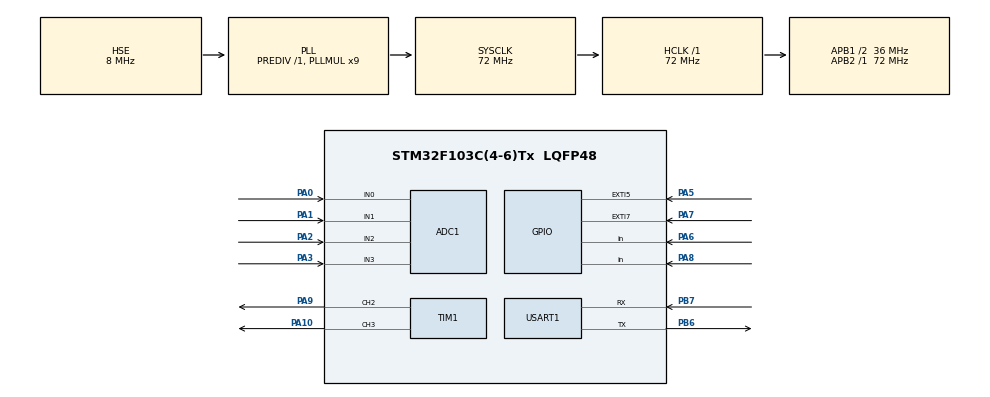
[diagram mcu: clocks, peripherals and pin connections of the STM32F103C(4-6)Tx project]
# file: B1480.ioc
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ADC1.Channel-0\#ChannelRegularConversion=ADC_CHANNEL_0
ADC1.NbrOfConversionFlag=1
ADC1.Rank-0\#ChannelRegularConversion=1
ADC1.SamplingTime-0\#ChannelRegularConversion=ADC_SAMPLETIME_1CYCLE_5
ADC1.master=1
Mcu.Family=STM32F1
Mcu.Name=STM32F103C(4-6)Tx
Mcu.Package=LQFP48
NVIC.EXTI9_5_IRQn=true\:0\:0\:false\:false\:true\:true\:true\:true
NVIC.PriorityGroup=NVIC_PRIORITYGROUP_4
PA0-WKUP.Signal=ADCx_IN0
PA1.Signal=ADCx_IN1
PA10.Signal=S_TIM1_CH3
PA13.Mode=Serial_Wire
PA13.Signal=SYS_JTMS-SWDIO
PA14.Mode=Serial_Wire
PA14.Signal=SYS_JTCK-SWCLK
PA2.Signal=ADCx_IN2
PA3.Signal=ADCx_IN3
PA5.GPIO_ModeDefaultEXTI=GPIO_MODE_IT_RISING
PA5.GPIO_PuPd=GPIO_PULLDOWN
PA5.Signal=GPXTI5
PA6.Signal=GPIO_Input
PA7.GPIO_ModeDefaultEXTI=GPIO_MODE_IT_RISING
PA7.GPIO_PuPd=GPIO_PULLDOWN
PA7.Signal=GPXTI7
PA8.Signal=GPIO_Input
PA9.Signal=S_TIM1_CH2
PB6.Mode=Asynchronous
PB6.Signal=USART1_TX
PB7.Mode=Asynchronous
PB7.Signal=USART1_RX
PD0-OSC_IN.Mode=HSE-External-Oscillator
PD0-OSC_IN.Signal=RCC_OSC_IN
PD1-OSC_OUT.Mode=HSE-External-Oscillator
PD1-OSC_OUT.Signal=RCC_OSC_OUT
ProjectManager.HeapSize=0x200
ProjectManager.StackSize=0x400
ProjectManager.TargetToolchain=STM32CubeIDE
RCC.ADCPresc=RCC_ADCPCLK2_DIV6
RCC.AHBFreq_Value=72000000
RCC.APB1CLKDivider=RCC_HCLK_DIV2
RCC.APB1Freq_Value=36000000
RCC.APB1TimFreq_Value=72000000
RCC.APB2Freq_Value=72000000
RCC.APB2TimFreq_Value=72000000
RCC.HCLKFreq_Value=72000000
RCC.PLLMUL=RCC_PLL_MUL9
RCC.PLLSourceVirtual=RCC_PLLSOURCE_HSE
RCC.SYSCLKFreq_VALUE=72000000
RCC.SYSCLKSource=RCC_SYSCLKSOURCE_PLLCLK
RCC.USBFreq_Value=72000000
SH.ADCx_IN0.0=ADC1_IN0,IN0
SH.ADCx_IN1.0=ADC1_IN1,IN1
SH.ADCx_IN2.0=ADC1_IN2,IN2
SH.ADCx_IN3.0=ADC1_IN3,IN3
SH.S_TIM1_CH2.0=TIM1_CH2,PWM Generation2 CH2
SH.S_TIM1_CH3.0=TIM1_CH3,PWM Generation3 CH3
TIM1.AutoReloadPreload=TIM_AUTORELOAD_PRELOAD_ENABLE
TIM1.Channel-PWM\ Generation2\ CH2=TIM_CHANNEL_2
TIM1.Channel-PWM\ Generation3\ CH3=TIM_CHANNEL_3
TIM1.OCMode_PWM-PWM\ Generation2\ CH2=TIM_OCMODE_PWM2
TIM1.OCMode_PWM-PWM\ Generation3\ CH3=TIM_OCMODE_PWM2
USART1.VirtualMode=VM_ASYNC
VP_TIM1_VS_ClockSourceINT.Mode=Internal
board=custom

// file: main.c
/* USER CODE BEGIN Header */
/**
 ******************************************************************************
 * @file           : main.c
 * @brief          : Main program body
 ******************************************************************************
 * @attention
 *
 * Copyright (c) 2024 STMicroelectronics.
 * All rights reserved.
 *
 * This software is licensed under terms that can be found in the LICENSE file
 * in the root directory of this software component.
 * If no LICENSE file comes with this software, it is provided AS-IS.
 *
 ******************************************************************************
 */
/* USER CODE END Header */
#include "main.h"

/* USER CODE BEGIN PD */
char msg[100];
int Pulses_Count_1;
int Pulses_Count_2;

PID_VARS_INIT(M1_PID);
PID_VARS_INIT(M2_PID);

uint64_t prev_1;
uint64_t prev_2;

/* USER CODE END PD */

/* USER CODE BEGIN PM */

#define Encoder_1_C1 GPIOA,GPIO_PIN_5
#define Encoder_1_C2 GPIOA,GPIO_PIN_6

#define Encoder_2_C1 GPIOA,GPIO_PIN_7
#define Encoder_2_C2 GPIOA,GPIO_PIN_8

#define PPR 360.0
#define MAX_DUTY 10000
/* USER CODE END PM */

ADC_HandleTypeDef hadc1;

TIM_HandleTypeDef htim1;

UART_HandleTypeDef huart1;

/* USER CODE BEGIN PV */
double Read_Speed_Setpoint(void)
{
	ADC_ChannelConfTypeDef sConfig = {0};
	sConfig.Channel = ADC_CHANNEL_0;
	sConfig.Rank = ADC_REGULAR_RANK_1;
	sConfig.SamplingTime = ADC_SAMPLETIME_1CYCLE_5;
	if (HAL_ADC_ConfigChannel(&hadc1, &sConfig) != HAL_OK)
	{
		Error_Handler();
	}
	HAL_ADC_Start(&hadc1);
	HAL_ADC_PollForConversion(&hadc1,HAL_MAX_DELAY);
	return HAL_ADC_GetValue(&hadc1);

}
double Read_Swing_Setpoint(void)
{
	ADC_ChannelConfTypeDef sConfig = {0};
	sConfig.Channel = ADC_CHANNEL_1;
	sConfig.Rank = ADC_REGULAR_RANK_1;
	sConfig.SamplingTime = ADC_SAMPLETIME_1CYCLE_5;
	if (HAL_ADC_ConfigChannel(&hadc1, &sConfig) != HAL_OK)
	{
		Error_Handler();
	}
	HAL_ADC_Start(&hadc1);
	HAL_ADC_PollForConversion(&hadc1,HAL_MAX_DELAY);

//	sprintf(msg,"Debug2  %d\r\n",HAL_ADC_GetValue(&hadc1));
//	HAL_UART_Transmit(&huart1,(uint8_t*)msg,strlen(msg),HAL_MAX_DELAY);

	return HAL_ADC_GetValue(&hadc1);
}
double Read_Current_L1(void)
{
	ADC_ChannelConfTypeDef sConfig = {0};
	sConfig.Channel = ADC_CHANNEL_2;
	sConfig.Rank = ADC_REGULAR_RANK_1;
	sConfig.SamplingTime = ADC_SAMPLETIME_1CYCLE_5;
	if (HAL_ADC_ConfigChannel(&hadc1, &sConfig) != HAL_OK)
	{
		Error_Handler();
	}
	HAL_ADC_Start(&hadc1);
	HAL_ADC_PollForConversion(&hadc1,HAL_MAX_DELAY);
	return HAL_ADC_GetValue(&hadc1);
}
double Read_Current_L2(void)
{
	ADC_ChannelConfTypeDef sConfig = {0};
	sConfig.Channel = ADC_CHANNEL_3;
	sConfig.Rank = ADC_REGULAR_RANK_1;
	sConfig.SamplingTime = ADC_SAMPLETIME_1CYCLE_5;
	if (HAL_ADC_ConfigChannel(&hadc1, &sConfig) != HAL_OK)
	{
		Error_Handler();
	}
	HAL_ADC_Start(&hadc1);
	HAL_ADC_PollForConversion(&hadc1,HAL_MAX_DELAY);
	return HAL_ADC_GetValue(&hadc1);
}

void HAL_GPIO_EXTI_Callback(uint16_t GPIO_Pin)
{
	if(GPIO_Pin == GPIO_PIN_5)
	{
		if( ( HAL_GPIO_ReadPin(Encoder_1_C1) && !HAL_GPIO_ReadPin(Encoder_1_C2) ) )
		{
			Pulses_Count_1++;
		}
		else if( ( !HAL_GPIO_ReadPin(Encoder_1_C1) && HAL_GPIO_ReadPin(Encoder_1_C2) ) )
		{
			Pulses_Count_1--;
		}

	}
	else if(GPIO_Pin == GPIO_PIN_7)
	{
		if( ( HAL_GPIO_ReadPin(Encoder_2_C1) && !HAL_GPIO_ReadPin(Encoder_2_C2) ) )
		{
			Pulses_Count_2++;
		}
		else if( ( !HAL_GPIO_ReadPin(Encoder_2_C1) && HAL_GPIO_ReadPin(Encoder_2_C2) ) )
		{
			Pulses_Count_2--;
		}
	}
}

double M1_Calc_Speed(void)
{
	double dt = (HAL_GetTick() - prev_1);
	prev_1 = HAL_GetTick();
	double speed = ( (Pulses_Count_1/PPR) * 60.0 * 1000.0 / dt );
	Pulses_Count_1 = 0;
	return speed;
}
double M2_Calc_Speed(void)
{
	double dt = (HAL_GetTick() - prev_2);
	prev_2 = HAL_GetTick();
	double speed = ( (Pulses_Count_2/PPR) * 60.0 * 1000.0 / dt );
	Pulses_Count_2 = 0;
	return speed;
}

void Motor1_Main_fn(void)
{
  static uint32_t prev = 0;
  int Speed_Setpoint = (Read_Speed_Setpoint()* 800.0/4095.0);
  int Swing_Setpoint = Read_Swing_Setpoint();
  int M1_speed = 0;
  int current_err = 0;

  if(Swing_Setpoint < 2048)
  {
	  M1_speed = Speed_Setpoint * (Swing_Setpoint+2048.0)/4095.0;
  }
  else
  {
	  M1_speed = Speed_Setpoint;
  }

  /* current_error = setpoint - current_process_variable */
  current_err = M1_speed - (int)M1_Calc_Speed();

  double dt = (HAL_GetTick() - prev)*0.001;
  M1_PID._integral_sum += current_err* dt;

  double Duty = (M1_PID.Kp)*current_err                     \
				+ (M1_PID.Ki)*(M1_PID._integral_sum)           \
				+ (M1_PID.Kd)*((current_err-(M1_PID._prev_err))\
							  /(dt));

  M1_PID._prev_err = current_err;

  /* limit output within output_min and output_max */
  if (Duty > (M1_PID.output_max))
	  Duty = M1_PID.output_max;
  else if (Duty < (M1_PID.output_min))
	  Duty = M1_PID.output_min;

  prev = HAL_GetTick();

  TIM1->CCR2 = MAX_DUTY * Duty;
}

void Motor2_Main_fn(void)
{
  static uint32_t prev = 0;
  int Speed_Setpoint = (Read_Speed_Setpoint()* 800.0/4095.0);
  int Swing_Setpoint = Read_Swing_Setpoint();
  int M2_speed = 0;
  int current_err = 0;

  if(Swing_Setpoint > 2048)
  {
	  M2_speed = Speed_Setpoint * (Swing_Setpoint)/4095.0;
  }
  else
  {
	  M2_speed = Speed_Setpoint;
  }

  /* current_error = setpoint - current_process_variable */
  current_err = M2_speed - (int)M2_Calc_Speed();

  double dt = (HAL_GetTick() - prev)*0.001;
  M2_PID._integral_sum += current_err* dt;

  double Duty = (M2_PID.Kp)*current_err                     \
				+ (M2_PID.Ki)*(M2_PID._integral_sum)           \
				+ (M2_PID.Kd)*((current_err-(M2_PID._prev_err))\
							  /(dt));

  M2_PID._prev_err = current_err;

  /* limit output within output_min and output_max */
  if (Duty > (M2_PID.output_max))
	  Duty = M2_PID.output_max;
  else if (Duty < (M2_PID.output_min))
	  Duty = M2_PID.output_min;

  prev = HAL_GetTick();

  TIM1->CCR3 = MAX_DUTY * Duty;
}
/* USER CODE END PV */

void SystemClock_Config(void);
static void MX_GPIO_Init(void);
static void MX_ADC1_Init(void);
static void MX_TIM1_Init(void);
static void MX_USART1_UART_Init(void);

int main(void)
{

	/* MCU Configuration--------------------------------------------------------*/

	/* Reset of all peripherals, Initializes the Flash interface and the Systick. */
	HAL_Init();

	/* Configure the system clock */
	SystemClock_Config();

	/* Initialize all configured peripherals */
	MX_GPIO_Init();
	MX_ADC1_Init();
	MX_TIM1_Init();
	MX_USART1_UART_Init();
	/* USER CODE BEGIN 2 */
	TIM1->CCR2 = 7000;
	TIM1->CCR3 = 7000;

	HAL_TIM_PWM_Start(&htim1, TIM_CHANNEL_2);
	HAL_TIM_PWM_Start(&htim1, TIM_CHANNEL_3);

	/* USER CODE END 2 */

	/* Infinite loop */
	while (1)
	{

		/* USER CODE BEGIN 3 */
		sprintf(msg,"Speed M1 = %d , Speed M2 = %d \r\n",(int)M1_Calc_Speed(),(int)M2_Calc_Speed());
		HAL_UART_Transmit(&huart1,(uint8_t*)msg,strlen(msg),HAL_MAX_DELAY);

		Motor1_Main_fn();
		Motor2_Main_fn();
		HAL_Delay(10);
	}
	/* USER CODE END 3 */
}

void SystemClock_Config(void)
{
	RCC_OscInitTypeDef RCC_OscInitStruct = {0};
	RCC_ClkInitTypeDef RCC_ClkInitStruct = {0};
	RCC_PeriphCLKInitTypeDef PeriphClkInit = {0};

	/** Initializes the RCC Oscillators according to the specified parameters
	 * in the RCC_OscInitTypeDef structure.
	 */
	RCC_OscInitStruct.OscillatorType = RCC_OSCILLATORTYPE_HSE;
	RCC_OscInitStruct.HSEState = RCC_HSE_ON;
	RCC_OscInitStruct.HSEPredivValue = RCC_HSE_PREDIV_DIV1;
	RCC_OscInitStruct.HSIState = RCC_HSI_ON;
	RCC_OscInitStruct.PLL.PLLState = RCC_PLL_ON;
	RCC_OscInitStruct.PLL.PLLSource = RCC_PLLSOURCE_HSE;
	RCC_OscInitStruct.PLL.PLLMUL = RCC_PLL_MUL9;
	if (HAL_RCC_OscConfig(&RCC_OscInitStruct) != HAL_OK)
	{
		Error_Handler();
	}

	/** Initializes the CPU, AHB and APB buses clocks
	 */
	RCC_ClkInitStruct.ClockType = RCC_CLOCKTYPE_HCLK|RCC_CLOCKTYPE_SYSCLK
			|RCC_CLOCKTYPE_PCLK1|RCC_CLOCKTYPE_PCLK2;
	RCC_ClkInitStruct.SYSCLKSource = RCC_SYSCLKSOURCE_PLLCLK;
	RCC_ClkInitStruct.AHBCLKDivider = RCC_SYSCLK_DIV1;
	RCC_ClkInitStruct.APB1CLKDivider = RCC_HCLK_DIV2;
	RCC_ClkInitStruct.APB2CLKDivider = RCC_HCLK_DIV1;

	if (HAL_RCC_ClockConfig(&RCC_ClkInitStruct, FLASH_LATENCY_2) != HAL_OK)
	{
		Error_Handler();
	}
	PeriphClkInit.PeriphClockSelection = RCC_PERIPHCLK_ADC;
	PeriphClkInit.AdcClockSelection = RCC_ADCPCLK2_DIV6;
	if (HAL_RCCEx_PeriphCLKConfig(&PeriphClkInit) != HAL_OK)
	{
		Error_Handler();
	}
}

static void MX_ADC1_Init(void)
{

	ADC_ChannelConfTypeDef sConfig = {0};

	/** Common config
	 */
	hadc1.Instance = ADC1;
	hadc1.Init.ScanConvMode = ADC_SCAN_DISABLE;
	hadc1.Init.ContinuousConvMode = DISABLE;
	hadc1.Init.DiscontinuousConvMode = DISABLE;
	hadc1.Init.ExternalTrigConv = ADC_SOFTWARE_START;
	hadc1.Init.DataAlign = ADC_DATAALIGN_RIGHT;
	hadc1.Init.NbrOfConversion = 1;
	if (HAL_ADC_Init(&hadc1) != HAL_OK)
	{
		Error_Handler();
	}

	/** Configure Regular Channel
	 */
	sConfig.Channel = ADC_CHANNEL_0;
	sConfig.Rank = ADC_REGULAR_RANK_1;
	sConfig.SamplingTime = ADC_SAMPLETIME_1CYCLE_5;
	if (HAL_ADC_ConfigChannel(&hadc1, &sConfig) != HAL_OK)
	{
		Error_Handler();
	}

}

static void MX_TIM1_Init(void)
{

	TIM_ClockConfigTypeDef sClockSourceConfig = {0};
	TIM_MasterConfigTypeDef sMasterConfig = {0};
	TIM_OC_InitTypeDef sConfigOC = {0};
	TIM_BreakDeadTimeConfigTypeDef sBreakDeadTimeConfig = {0};

	htim1.Instance = TIM1;
	htim1.Init.Prescaler = 0;
	htim1.Init.CounterMode = TIM_COUNTERMODE_UP;
	htim1.Init.Period = 65535;
	htim1.Init.ClockDivision = TIM_CLOCKDIVISION_DIV1;
	htim1.Init.RepetitionCounter = 0;
	htim1.Init.AutoReloadPreload = TIM_AUTORELOAD_PRELOAD_ENABLE;
	if (HAL_TIM_Base_Init(&htim1) != HAL_OK)
	{
		Error_Handler();
	}
	sClockSourceConfig.ClockSource = TIM_CLOCKSOURCE_INTERNAL;
	if (HAL_TIM_ConfigClockSource(&htim1, &sClockSourceConfig) != HAL_OK)
	{
		Error_Handler();
	}
	if (HAL_TIM_PWM_Init(&htim1) != HAL_OK)
	{
		Error_Handler();
	}
	sMasterConfig.MasterOutputTrigger = TIM_TRGO_RESET;
	sMasterConfig.MasterSlaveMode = TIM_MASTERSLAVEMODE_DISABLE;
	if (HAL_TIMEx_MasterConfigSynchronization(&htim1, &sMasterConfig) != HAL_OK)
	{
		Error_Handler();
	}
	sConfigOC.OCMode = TIM_OCMODE_PWM2;
	sConfigOC.Pulse = 0;
	sConfigOC.OCPolarity = TIM_OCPOLARITY_HIGH;
	sConfigOC.OCNPolarity = TIM_OCNPOLARITY_HIGH;
	sConfigOC.OCFastMode = TIM_OCFAST_DISABLE;
	sConfigOC.OCIdleState = TIM_OCIDLESTATE_RESET;
	sConfigOC.OCNIdleState = TIM_OCNIDLESTATE_RESET;
	if (HAL_TIM_PWM_ConfigChannel(&htim1, &sConfigOC, TIM_CHANNEL_2) != HAL_OK)
	{
		Error_Handler();
	}
	if (HAL_TIM_PWM_ConfigChannel(&htim1, &sConfigOC, TIM_CHANNEL_3) != HAL_OK)
	{
		Error_Handler();
	}
	sBreakDeadTimeConfig.OffStateRunMode = TIM_OSSR_DISABLE;
	sBreakDeadTimeConfig.OffStateIDLEMode = TIM_OSSI_DISABLE;
	sBreakDeadTimeConfig.LockLevel = TIM_LOCKLEVEL_OFF;
	sBreakDeadTimeConfig.DeadTime = 0;
	sBreakDeadTimeConfig.BreakState = TIM_BREAK_DISABLE;
	sBreakDeadTimeConfig.BreakPolarity = TIM_BREAKPOLARITY_HIGH;
	sBreakDeadTimeConfig.AutomaticOutput = TIM_AUTOMATICOUTPUT_DISABLE;
	if (HAL_TIMEx_ConfigBreakDeadTime(&htim1, &sBreakDeadTimeConfig) != HAL_OK)
	{
		Error_Handler();
	}
	HAL_TIM_MspPostInit(&htim1);

}

static void MX_USART1_UART_Init(void)
{

	huart1.Instance = USART1;
	huart1.Init.BaudRate = 115200;
	huart1.Init.WordLength = UART_WORDLENGTH_8B;
	huart1.Init.StopBits = UART_STOPBITS_1;
	huart1.Init.Parity = UART_PARITY_NONE;
	huart1.Init.Mode = UART_MODE_TX_RX;
	huart1.Init.HwFlowCtl = UART_HWCONTROL_NONE;
	huart1.Init.OverSampling = UART_OVERSAMPLING_16;
	if (HAL_UART_Init(&huart1) != HAL_OK)
	{
		Error_Handler();
	}

}

static void MX_GPIO_Init(void)
{
	GPIO_InitTypeDef GPIO_InitStruct = {0};

	/* GPIO Ports Clock Enable */
	__HAL_RCC_GPIOD_CLK_ENABLE();
	__HAL_RCC_GPIOA_CLK_ENABLE();
	__HAL_RCC_GPIOB_CLK_ENABLE();

	/*Configure GPIO pins : PA5 PA7 */
	GPIO_InitStruct.Pin = GPIO_PIN_5|GPIO_PIN_7;
	GPIO_InitStruct.Mode = GPIO_MODE_IT_RISING;
	GPIO_InitStruct.Pull = GPIO_PULLDOWN;
	HAL_GPIO_Init(GPIOA, &GPIO_InitStruct);

	/*Configure GPIO pins : PA6 PA8 */
	GPIO_InitStruct.Pin = GPIO_PIN_6|GPIO_PIN_8;
	GPIO_InitStruct.Mode = GPIO_MODE_INPUT;
	GPIO_InitStruct.Pull = GPIO_NOPULL;
	HAL_GPIO_Init(GPIOA, &GPIO_InitStruct);

	/* EXTI interrupt init*/
	HAL_NVIC_SetPriority(EXTI9_5_IRQn, 0, 0);
	HAL_NVIC_EnableIRQ(EXTI9_5_IRQn);

}

void Error_Handler(void)
{
	__disable_irq();
	while (1)
	{
	}
}
